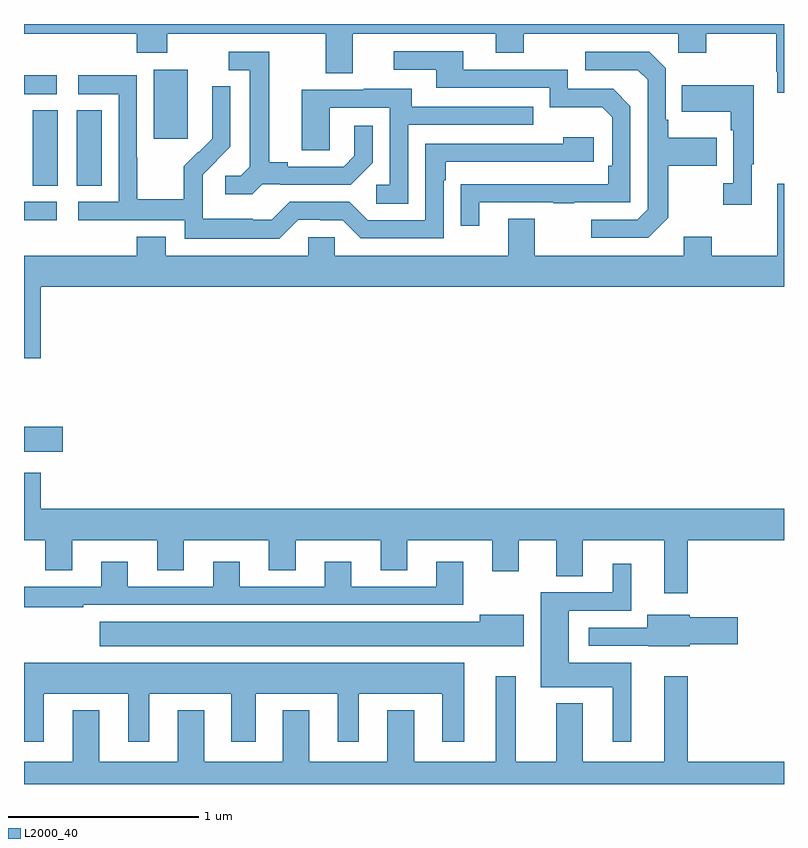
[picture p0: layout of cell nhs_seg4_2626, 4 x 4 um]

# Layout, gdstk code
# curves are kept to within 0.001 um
import gdstk
lib = gdstk.Library(unit=1e-6, precision=1e-09)
def R(c, l, rs):  # rectangles x0, y0, x1, y1
    for r in rs: c.add(gdstk.rectangle(r[:2], r[2:], *l))
def P(c, l, *ps):  # polygons
    for p in ps: c.add(gdstk.Polygon(p, *l))
L2000_40 = (2000, 40)

nhs_seg4_2626 = lib.new_cell('nhs_seg4_2626')
R(nhs_seg4_2626, L2000_40, [(249,766.649,249.205,766.779), (249,767.868,249.172,767.964), (249.047,768.049,249.178,768.446), (249.278,768.049,249.409,768.446), (249.683,768.297,249.862,768.658), (249,768.531,249.172,768.63)])
P(nhs_seg4_2626, L2000_40, [(253,768.9),(249,768.9),(249,768.848),(249.593,768.848),(249.593,768.749),(249.753,768.749),(249.753,768.848),(250.589,768.848),(250.589,768.64),(250.729,768.64),(250.729,768.848),(251.483,768.848),(251.483,768.749),(251.631,768.749),(251.631,768.848),(252.444,768.848),(252.444,768.749),(252.591,768.749),(252.591,768.848),(252.958,768.848),(252.958,768.649),(252.965,768.649),(252.965,768.537),(253,768.537)],
  [(251.395,767.961),(251.785,767.961),(251.785,767.956),(251.897,767.956),(251.897,767.961),(252.192,767.961),(252.192,768.468),(252.102,768.558),(251.862,768.558),(251.862,768.66),(251.311,768.66),(251.311,768.756),(250.947,768.756),(250.947,768.66),(251.171,768.66),(251.171,768.564),(251.766,768.564),(251.766,768.461),(252.043,768.461),(252.096,768.408),(252.096,768.154),(252.076,768.154),(252.076,768.057),(251.299,768.056),(251.299,767.838),(251.395,767.838)],
  [(252.391,767.881),(252.391,768.154),(252.647,768.154),(252.647,768.301),(252.391,768.301),(252.391,768.397),(252.378,768.397),(252.378,768.666),(252.291,768.753),(251.955,768.753),(251.955,768.657),(252.231,768.657),(252.282,768.606),(252.282,767.925),(252.228,767.871),(251.985,767.871),(251.985,767.775),(252.285,767.775)],
  [(250.254,768.057),(250.348,768.057),(250.348,768.054),(250.72,768.054),(250.836,768.17),(250.836,768.364),(250.739,768.364),(250.739,768.207),(250.682,768.15),(250.387,768.15),(250.387,768.173),(250.291,768.173),(250.291,768.753),(250.077,768.753),(250.077,768.657),(250.187,768.657),(250.187,768.149),(250.14,768.102),(250.059,768.102),(250.059,768.005),(250.202,768.005)],
  [(250.443,767.871),(250.559,767.871),(250.559,767.868),(250.677,767.868),(250.773,767.772),(251.208,767.772),(251.208,768.077),(251.221,768.077),(251.221,768.174),(251.998,768.174),(251.998,768.304),(251.837,768.304),(251.837,768.27),(251.112,768.27),(251.112,767.868),(250.809,767.868),(250.713,767.964),(250.398,767.964),(250.305,767.871),(250.205,767.871),(250.205,767.875),(249.942,767.875),(249.942,768.009),(249.94,768.009),(249.94,768.106),(250.086,768.254),(250.086,768.572),(249.99,768.572),(249.99,768.418),(249.992,768.418),(249.992,768.296),(249.921,768.225),(249.918,768.228),(249.841,768.151),(249.841,767.977),(249.597,767.977),(249.597,768.2),(249.594,768.2),(249.594,768.63),(249.285,768.63),(249.285,768.531),(249.498,768.531),(249.498,767.964),(249.285,767.964),(249.285,767.868),(249.846,767.868),(249.846,767.771),(250.343,767.771)],
  [(252.829,768.161),(252.841,768.161),(252.841,768.577),(252.463,768.577),(252.463,768.437),(252.72,768.437),(252.72,768.341),(252.732,768.341),(252.732,768.062),(252.681,768.062),(252.681,767.949),(252.829,767.949)],
  [(251.022,768.369),(251.681,768.369),(251.681,768.465),(251.041,768.465),(251.041,768.559),(250.787,768.559),(250.787,768.555),(250.463,768.555),(250.463,768.235),(250.608,768.235),(250.608,768.459),(250.926,768.459),(250.926,768.054),(250.854,768.054),(250.854,767.953),(251.022,767.953)],
  [(249.088,767.516),(253,767.516),(253,768.058),(252.965,768.058),(252.965,767.68),(252.621,767.68),(252.621,767.779),(252.473,767.779),(252.473,767.68),(251.689,767.68),(251.689,767.875),(251.549,767.875),(251.549,767.68),(250.635,767.68),(250.635,767.778),(250.497,767.778),(250.497,767.68),(249.745,767.68),(249.745,767.779),(249.593,767.779),(249.593,767.68),(249,767.68),(249,767.142),(249.088,767.142)],
  [(249.088,766.537),(249,766.537),(249,766.184),(249.113,766.184),(249.113,766.024),(249.253,766.024),(249.253,766.184),(249.701,766.184),(249.701,766.024),(249.841,766.024),(249.841,766.184),(250.289,766.184),(250.289,766.024),(250.429,766.024),(250.429,766.184),(250.877,766.184),(250.877,766.024),(251.017,766.024),(251.017,766.184),(251.465,766.184),(251.465,766.02),(251.605,766.02),(251.605,766.184),(251.801,766.184),(251.801,765.994),(251.941,765.994),(251.941,766.184),(252.371,766.184),(252.371,765.903),(252.493,765.903),(252.493,766.184),(253,766.184),(253,766.348),(249.088,766.348)],
  [(249.311,765.843),(251.311,765.843),(251.311,766.069),(251.171,766.069),(251.171,765.939),(250.723,765.939),(250.723,766.069),(250.583,766.069),(250.583,765.939),(250.135,765.939),(250.135,766.069),(249.995,766.069),(249.995,765.939),(249.547,765.939),(249.547,766.069),(249.407,766.069),(249.407,765.939),(249,765.939),(249,765.831),(249.311,765.831)],
  [(252.196,765.538),(251.866,765.538),(251.866,765.813),(252.196,765.813),(252.196,766.06),(252.098,766.06),(252.098,765.909),(251.72,765.909),(251.72,765.41),(252.098,765.41),(252.098,765.123),(252.196,765.123)],
  [(252.504,765.635),(252.757,765.635),(252.757,765.777),(252.504,765.777),(252.504,765.79),(252.281,765.79),(252.281,765.723),(251.973,765.723),(251.973,765.627),(252.285,765.627),(252.285,765.626),(252.504,765.626)],
  [(251.629,765.79),(251.399,765.79),(251.399,765.754),(249.399,765.754),(249.399,765.626),(251.629,765.626)],
  [(249.103,765.374),(249.548,765.374),(249.548,765.123),(249.658,765.123),(249.658,765.374),(250.091,765.374),(250.091,765.123),(250.219,765.123),(250.219,765.374),(250.652,765.374),(250.652,765.123),(250.762,765.123),(250.762,765.374),(251.201,765.374),(251.201,765.123),(251.317,765.123),(251.317,765.538),(249,765.538),(249,765.123),(249.103,765.123)],
  [(253,765.016),(252.493,765.016),(252.493,765.466),(252.371,765.466),(252.371,765.016),(251.941,765.016),(251.941,765.325),(251.801,765.325),(251.801,765.016),(251.587,765.016),(251.587,765.466),(251.483,765.466),(251.483,765.016),(251.053,765.016),(251.053,765.289),(250.913,765.289),(250.913,765.016),(250.501,765.016),(250.501,765.289),(250.361,765.289),(250.361,765.016),(249.949,765.016),(249.949,765.289),(249.809,765.289),(249.809,765.016),(249.397,765.016),(249.397,765.289),(249.257,765.289),(249.257,765.016),(249,765.016),(249,764.9),(253,764.9)])

lib.write_gds('nhs_seg4_2626.gds')
